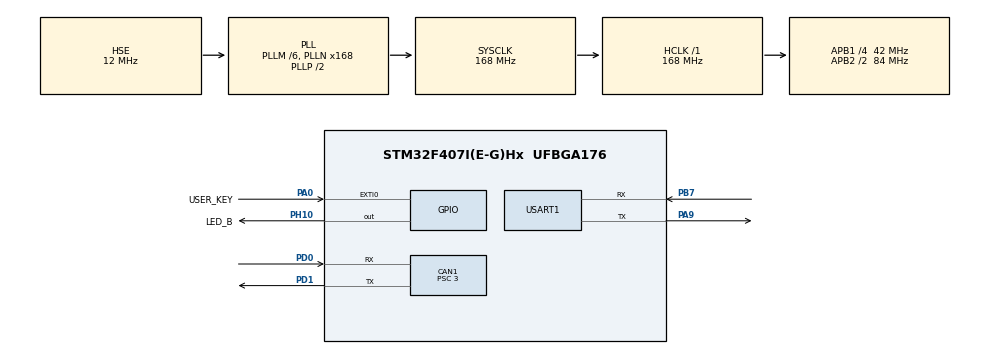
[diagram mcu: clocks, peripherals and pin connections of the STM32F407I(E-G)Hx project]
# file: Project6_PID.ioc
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CAN1.ABOM=ENABLE
CAN1.BS1=CAN_BS1_11TQ
CAN1.BS2=CAN_BS2_2TQ
CAN1.CalculateBaudRate=1000000
CAN1.CalculateTimeBit=1000
CAN1.CalculateTimeQuantum=71.42857142857143
CAN1.Prescaler=3
Mcu.Family=STM32F4
Mcu.Name=STM32F407I(E-G)Hx
Mcu.Package=UFBGA176
NVIC.CAN1_RX0_IRQn=true\:0\:0\:false\:false\:true\:true\:true\:true
NVIC.CAN1_RX1_IRQn=true\:0\:0\:false\:false\:true\:true\:true\:true
NVIC.CAN1_TX_IRQn=true\:0\:0\:false\:false\:true\:true\:true\:true
NVIC.EXTI0_IRQn=true\:0\:0\:false\:false\:true\:true\:true\:true
NVIC.PriorityGroup=NVIC_PRIORITYGROUP_4
NVIC.USART1_IRQn=true\:0\:0\:false\:false\:true\:true\:true\:true
PA0-WKUP.GPIO_Label=USER_KEY
PA0-WKUP.GPIO_ModeDefaultEXTI=GPIO_MODE_IT_RISING_FALLING
PA0-WKUP.GPIO_PuPd=GPIO_PULLUP
PA0-WKUP.Signal=GPXTI0
PA13.Mode=Serial_Wire
PA13.Signal=SYS_JTMS-SWDIO
PA14.Mode=Serial_Wire
PA14.Signal=SYS_JTCK-SWCLK
PA9.Mode=Asynchronous
PA9.Signal=USART1_TX
PB7.Mode=Asynchronous
PB7.Signal=USART1_RX
PD0.Mode=CAN_Activate
PD0.Signal=CAN1_RX
PD1.Mode=CAN_Activate
PD1.Signal=CAN1_TX
PH0-OSC_IN.Mode=HSE-External-Oscillator
PH0-OSC_IN.Signal=RCC_OSC_IN
PH1-OSC_OUT.Mode=HSE-External-Oscillator
PH1-OSC_OUT.Signal=RCC_OSC_OUT
PH10.GPIO_Label=LED_B
PH10.Signal=GPIO_Output
ProjectManager.HeapSize=0x200
ProjectManager.StackSize=0x400
ProjectManager.TargetToolchain=MDK-ARM V5.32
RCC.48MHZClocksFreq_Value=84000000
RCC.AHBFreq_Value=168000000
RCC.APB1CLKDivider=RCC_HCLK_DIV4
RCC.APB1Freq_Value=42000000
RCC.APB1TimFreq_Value=84000000
RCC.APB2CLKDivider=RCC_HCLK_DIV2
RCC.APB2Freq_Value=84000000
RCC.APB2TimFreq_Value=168000000
RCC.CortexFreq_Value=168000000
RCC.HCLKFreq_Value=168000000
RCC.HSE_VALUE=12000000
RCC.HSI_VALUE=16000000
RCC.LSE_VALUE=32768
RCC.PLLM=6
RCC.PLLN=168
RCC.PLLSourceVirtual=RCC_PLLSOURCE_HSE
RCC.SYSCLKFreq_VALUE=168000000
RCC.SYSCLKSource=RCC_SYSCLKSOURCE_PLLCLK
RCC.VCOOutputFreq_Value=336000000
USART1.VirtualMode=VM_ASYNC
board=custom

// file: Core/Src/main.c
/* USER CODE BEGIN Header */
/**
  ******************************************************************************
  * @file           : main.c
  * @brief          : Main program body
  ******************************************************************************
  * @attention
  *
  * Copyright (c) 2024 STMicroelectronics.
  * All rights reserved.
  *
  * This software is licensed under terms that can be found in the LICENSE file
  * in the root directory of this software component.
  * If no LICENSE file comes with this software, it is provided AS-IS.
  *
  ******************************************************************************
  */
/* USER CODE END Header */
#include "main.h"
#include "can.h"
#include "gpio.h"
#include "usart.h"

/* USER CODE BEGIN Includes */
#include "callback.h"
#include <stdio.h>
/* USER CODE END Includes */

void SystemClock_Config(void);

int main(void) {

    /* MCU Configuration--------------------------------------------------------*/

    /* Reset of all peripherals, Initializes the Flash interface and the Systick. */
    HAL_Init();

    /* Configure the system clock */
    SystemClock_Config();

    /* Initialize all configured peripherals */
    MX_GPIO_Init();
    MX_USART1_UART_Init();
    MX_CAN1_Init();

    /* USER CODE BEGIN 2 */
    CAN_FilterTypeDef canFilterConfig;
    canFilterConfig.FilterBank = 0; // 使用过滤器组0
    canFilterConfig.FilterMode = CAN_FILTERMODE_IDMASK; // 使用ID掩码模式
    canFilterConfig.FilterScale = CAN_FILTERSCALE_32BIT; // 使用32位宽
    canFilterConfig.FilterIdHigh = 0x0000; // 标准ID高位
    canFilterConfig.FilterIdLow = 0x0000; // 标准ID低位
    canFilterConfig.FilterMaskIdHigh = 0x0000; // 掩码高位
    canFilterConfig.FilterMaskIdLow = 0x0000; // 掩码低位
    canFilterConfig.FilterFIFOAssignment = CAN_RX_FIFO0; // 分配到FIFO0
    canFilterConfig.FilterActivation = ENABLE; // 启用过滤器

    HAL_CAN_ConfigFilter(&hcan1, &canFilterConfig);
    HAL_CAN_Start(&hcan1);
    HAL_CAN_ActivateNotification(&hcan1, CAN_IT_RX_FIFO0_MSG_PENDING);
    HAL_CAN_ActivateNotification(&hcan1, CAN_IT_TX_MAILBOX_EMPTY);

    motorInit();
    /* USER CODE END 2 */

    /* Infinite loop */
    while (1) {

        /* USER CODE BEGIN 3 */
        motorHandler();
        HAL_Delay(1);
    }
    /* USER CODE END 3 */
}

void SystemClock_Config(void) {
    RCC_OscInitTypeDef RCC_OscInitStruct = { 0 };
    RCC_ClkInitTypeDef RCC_ClkInitStruct = { 0 };

    /** Configure the main internal regulator output voltage
  */
    __HAL_RCC_PWR_CLK_ENABLE();
    __HAL_PWR_VOLTAGESCALING_CONFIG(PWR_REGULATOR_VOLTAGE_SCALE1);

    /** Initializes the RCC Oscillators according to the specified parameters
  * in the RCC_OscInitTypeDef structure.
  */
    RCC_OscInitStruct.OscillatorType = RCC_OSCILLATORTYPE_HSE;
    RCC_OscInitStruct.HSEState = RCC_HSE_ON;
    RCC_OscInitStruct.PLL.PLLState = RCC_PLL_ON;
    RCC_OscInitStruct.PLL.PLLSource = RCC_PLLSOURCE_HSE;
    RCC_OscInitStruct.PLL.PLLM = 6;
    RCC_OscInitStruct.PLL.PLLN = 168;
    RCC_OscInitStruct.PLL.PLLP = RCC_PLLP_DIV2;
    RCC_OscInitStruct.PLL.PLLQ = 4;
    if (HAL_RCC_OscConfig(&RCC_OscInitStruct) != HAL_OK) {
        Error_Handler();
    }

    /** Initializes the CPU, AHB and APB buses clocks
  */
    RCC_ClkInitStruct.ClockType = RCC_CLOCKTYPE_HCLK | RCC_CLOCKTYPE_SYSCLK | RCC_CLOCKTYPE_PCLK1 | RCC_CLOCKTYPE_PCLK2;
    RCC_ClkInitStruct.SYSCLKSource = RCC_SYSCLKSOURCE_PLLCLK;
    RCC_ClkInitStruct.AHBCLKDivider = RCC_SYSCLK_DIV1;
    RCC_ClkInitStruct.APB1CLKDivider = RCC_HCLK_DIV4;
    RCC_ClkInitStruct.APB2CLKDivider = RCC_HCLK_DIV2;

    if (HAL_RCC_ClockConfig(&RCC_ClkInitStruct, FLASH_LATENCY_5) != HAL_OK) {
        Error_Handler();
    }
}

/* USER CODE BEGIN 4 */
int _write(int file, char* ch, int len) {
    HAL_UART_Transmit(&huart1, (uint8_t*)ch, 1, 10);
    return 1;
}
/* USER CODE END 4 */

void Error_Handler(void) {
    __disable_irq();
    while (1) {
    }
}
